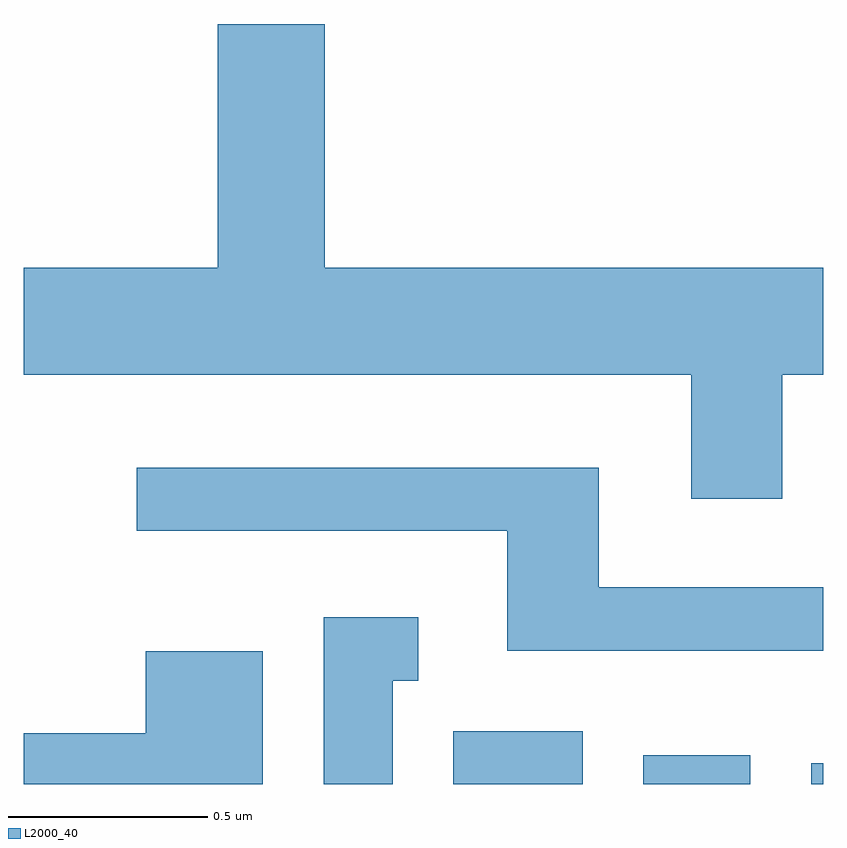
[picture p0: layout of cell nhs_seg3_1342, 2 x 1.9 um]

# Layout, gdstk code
import gdstk
lib = gdstk.Library(unit=1e-6, precision=1e-09)
def R(c, l, rs):  # rectangles x0, y0, x1, y1
    for r in rs: c.add(gdstk.rectangle(r[:2], r[2:], *l))
def P(c, l, *ps):  # polygons
    for p in ps: c.add(gdstk.Polygon(p, *l))
L2000_40 = (2000, 40)

nhs_seg3_1342 = lib.new_cell('nhs_seg3_1342')
R(nhs_seg3_1342, L2000_40, [(195.686,1224.892,196.009,1225.024), (196.161,1224.892,196.429,1224.964), (196.581,1224.892,196.611,1224.944)])
P(nhs_seg3_1342, L2000_40, [(196.509,1225.916),(196.611,1225.916),(196.611,1226.184),(195.364,1226.184),(195.364,1226.794),(195.096,1226.794),(195.096,1226.184),(194.611,1226.184),(194.611,1225.916),(196.281,1225.916),(196.281,1225.606),(196.509,1225.606)],
  [(196.611,1225.384),(196.049,1225.384),(196.049,1225.684),(194.893,1225.684),(194.893,1225.526),(195.821,1225.526),(195.821,1225.226),(196.611,1225.226)],
  [(195.534,1225.151),(195.598,1225.151),(195.598,1225.309),(195.361,1225.309),(195.361,1224.892),(195.534,1224.892)],
  [(195.209,1225.224),(194.916,1225.224),(194.916,1225.019),(194.611,1225.019),(194.611,1224.892),(195.209,1224.892)])

lib.write_gds('nhs_seg3_1342.gds')
